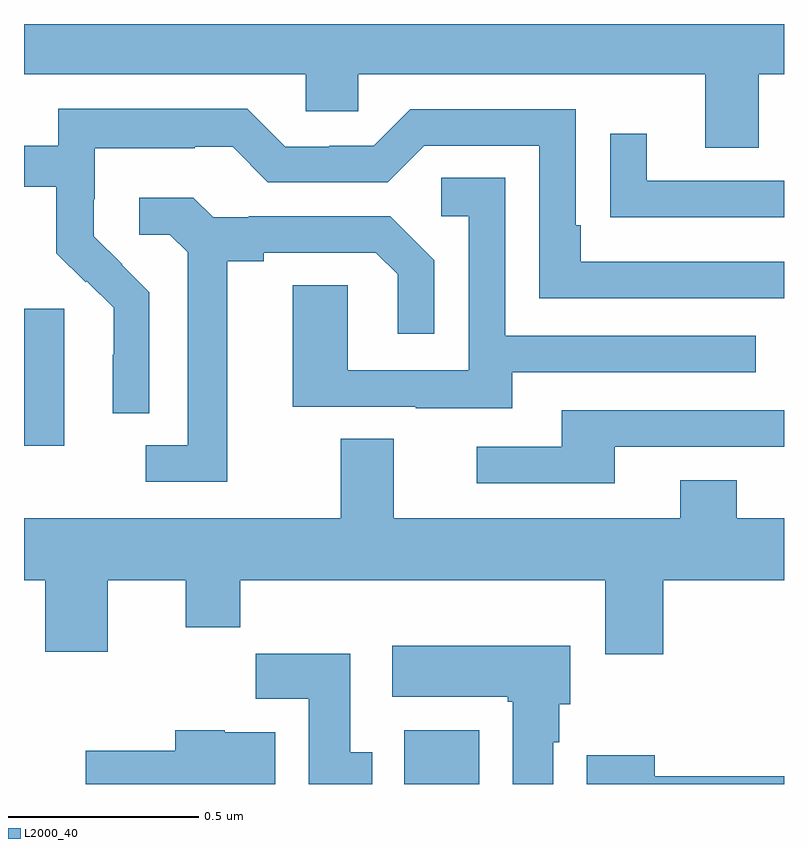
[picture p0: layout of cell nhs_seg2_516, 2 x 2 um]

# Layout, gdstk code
import gdstk
lib = gdstk.Library(unit=1e-6, precision=1e-09)
def R(c, l, rs):  # rectangles x0, y0, x1, y1
    for r in rs: c.add(gdstk.rectangle(r[:2], r[2:], *l))
def P(c, l, *ps):  # polygons
    for p in ps: c.add(gdstk.Polygon(p, *l))
L2000_40 = (2000, 40)

nhs_seg2_516 = lib.new_cell('nhs_seg2_516')
R(nhs_seg2_516, L2000_40, [(118.001,613.8,118.198,613.942), (117,614.69,117.106,615.051)])
P(nhs_seg2_516, L2000_40, [(118.933,615.668),(119,615.668),(119,615.8),(117,615.8),(117,615.668),(117.741,615.668),(117.741,615.57),(117.879,615.57),(117.879,615.668),(118.793,615.668),(118.793,615.474),(118.933,615.474)],
  [(117.33,615.094),(117.257,615.167),(117.258,615.168),(117.184,615.242),(117.184,615.339),(117.186,615.339),(117.186,615.473),(117.449,615.473),(117.449,615.477),(117.549,615.477),(117.642,615.384),(117.957,615.384),(118.053,615.48),(118.356,615.48),(118.356,615.078),(119,615.078),(119,615.174),(118.465,615.174),(118.465,615.271),(118.452,615.271),(118.452,615.576),(118.017,615.576),(117.921,615.48),(117.803,615.48),(117.803,615.477),(117.687,615.477),(117.587,615.577),(117.09,615.577),(117.09,615.48),(117,615.48),(117,615.372),(117.085,615.372),(117.085,615.197),(117.162,615.12),(117.165,615.123),(117.236,615.053),(117.236,614.93),(117.234,614.93),(117.234,614.776),(117.33,614.776)],
  [(119,615.387),(118.639,615.387),(118.639,615.511),(118.543,615.511),(118.543,615.292),(118.645,615.292),(118.645,615.291),(119,615.291)],
  [(118.285,614.883),(118.925,614.883),(118.925,614.979),(118.266,614.979),(118.266,615.395),(118.098,615.395),(118.098,615.294),(118.17,615.294),(118.17,614.889),(117.852,614.889),(117.852,615.113),(117.707,615.113),(117.707,614.793),(118.031,614.793),(118.031,614.789),(118.285,614.789)],
  [(117.535,615.176),(117.631,615.176),(117.631,615.198),(117.926,615.198),(117.983,615.141),(117.983,614.985),(118.08,614.985),(118.08,615.178),(117.964,615.294),(117.592,615.294),(117.592,615.291),(117.498,615.291),(117.446,615.343),(117.303,615.343),(117.303,615.246),(117.384,615.246),(117.431,615.199),(117.431,614.691),(117.321,614.691),(117.321,614.595),(117.535,614.595)],
  [(118.555,614.688),(119,614.688),(119,614.784),(118.415,614.784),(118.415,614.688),(118.191,614.688),(118.191,614.592),(118.555,614.592)],
  [(118.682,614.336),(119,614.336),(119,614.5),(118.875,614.5),(118.875,614.599),(118.727,614.599),(118.727,614.5),(117.973,614.5),(117.973,614.708),(117.833,614.708),(117.833,614.5),(117,614.5),(117,614.336),(117.056,614.336),(117.056,614.148),(117.22,614.148),(117.22,614.336),(117.425,614.336),(117.425,614.212),(117.569,614.212),(117.569,614.336),(118.529,614.336),(118.529,614.142),(118.682,614.142)],
  [(118.393,613.91),(118.408,613.91),(118.408,614.01),(118.438,614.01),(118.438,614.164),(117.969,614.164),(117.969,614.03),(118.273,614.03),(118.273,614.017),(118.286,614.017),(118.286,613.8),(118.393,613.8)],
  [(117.916,613.884),(117.859,613.884),(117.859,614.143),(117.61,614.143),(117.61,614.024),(117.749,614.024),(117.749,613.8),(117.916,613.8)],
  [(117.661,613.936),(117.528,613.936),(117.528,613.942),(117.398,613.942),(117.398,613.888),(117.162,613.888),(117.162,613.8),(117.661,613.8)],
  [(119,613.82),(118.66,613.82),(118.66,613.876),(118.481,613.876),(118.481,613.8),(119,613.8)])

lib.write_gds('nhs_seg2_516.gds')
